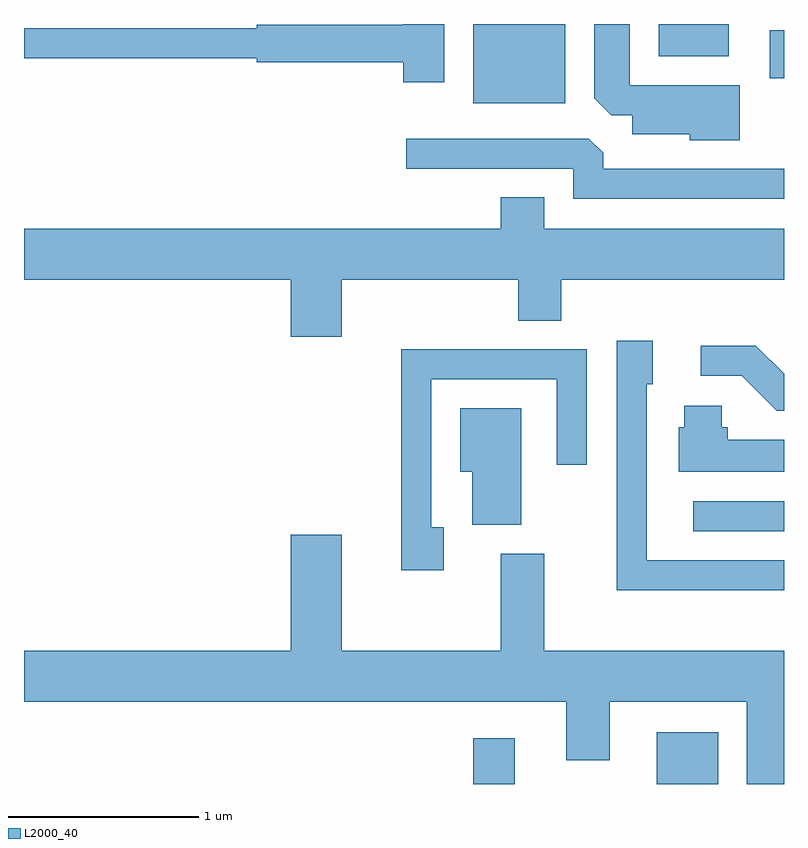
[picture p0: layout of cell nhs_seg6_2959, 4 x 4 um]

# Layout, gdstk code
import gdstk
lib = gdstk.Library(unit=1e-6, precision=1e-09)
def R(c, l, rs):  # rectangles x0, y0, x1, y1
    for r in rs: c.add(gdstk.rectangle(r[:2], r[2:], *l))
def P(c, l, *ps):  # polygons
    for p in ps: c.add(gdstk.Polygon(p, *l))
L2000_40 = (2000, 40)

nhs_seg6_2959 = lib.new_cell('nhs_seg6_2959')
R(nhs_seg6_2959, L2000_40, [(275.976,1656.162,276.194,1656.404), (276.941,1656.162,277.264,1656.434), (277.133,1657.491,277.611,1657.649), (275.976,1659.746,276.459,1660.162), (277.536,1659.876,277.611,1660.129), (276.951,1659.991,277.319,1660.162)])
P(nhs_seg6_2959, L2000_40, [(275.824,1660.162),(275.606,1660.162),(275.606,1660.159),(274.836,1660.159),(274.836,1660.139),(273.611,1660.139),(273.611,1659.981),(274.836,1659.981),(274.836,1659.961),(275.606,1659.961),(275.606,1659.856),(275.824,1659.856)],
  [(277.379,1659.839),(276.799,1659.839),(276.799,1660.162),(276.611,1660.162),(276.611,1659.772),(276.702,1659.681),(276.811,1659.681),(276.811,1659.581),(277.116,1659.581),(277.116,1659.551),(277.379,1659.551)],
  [(277.611,1659.399),(276.659,1659.399),(276.659,1659.484),(276.584,1659.559),(275.623,1659.559),(275.623,1659.401),(276.501,1659.401),(276.501,1659.241),(277.611,1659.241)],
  [(275.284,1658.816),(276.211,1658.816),(276.211,1658.601),(276.439,1658.601),(276.439,1658.816),(277.611,1658.816),(277.611,1659.084),(276.349,1659.084),(276.349,1659.249),(276.121,1659.249),(276.121,1659.084),(273.611,1659.084),(273.611,1658.816),(275.016,1658.816),(275.016,1658.516),(275.284,1658.516)],
  [(277.611,1657.339),(276.889,1657.339),(276.889,1658.266),(276.919,1658.266),(276.919,1658.494),(276.731,1658.494),(276.731,1657.181),(277.611,1657.181)],
  [(277.611,1658.32),(277.462,1658.469),(277.173,1658.469),(277.173,1658.311),(277.389,1658.311),(277.574,1658.126),(277.611,1658.126)],
  [(275.819,1657.514),(275.754,1657.514),(275.754,1658.291),(276.416,1658.291),(276.416,1657.843),(276.574,1657.843),(276.574,1658.449),(275.596,1658.449),(275.596,1657.286),(275.819,1657.286)],
  [(277.611,1657.974),(277.314,1657.974),(277.314,1658.039),(277.284,1658.039),(277.284,1658.154),(277.086,1658.154),(277.086,1658.039),(277.056,1658.039),(277.056,1657.806),(277.611,1657.806)],
  [(276.229,1658.139),(275.906,1658.139),(275.906,1657.806),(275.971,1657.806),(275.971,1657.526),(276.229,1657.526)],
  [(277.611,1656.864),(276.349,1656.864),(276.349,1657.374),(276.121,1657.374),(276.121,1656.864),(275.284,1656.864),(275.284,1657.474),(275.016,1657.474),(275.016,1656.864),(273.611,1656.864),(273.611,1656.596),(276.466,1656.596),(276.466,1656.286),(276.694,1656.286),(276.694,1656.596),(277.416,1656.596),(277.416,1656.162),(277.611,1656.162)])

lib.write_gds('nhs_seg6_2959.gds')
